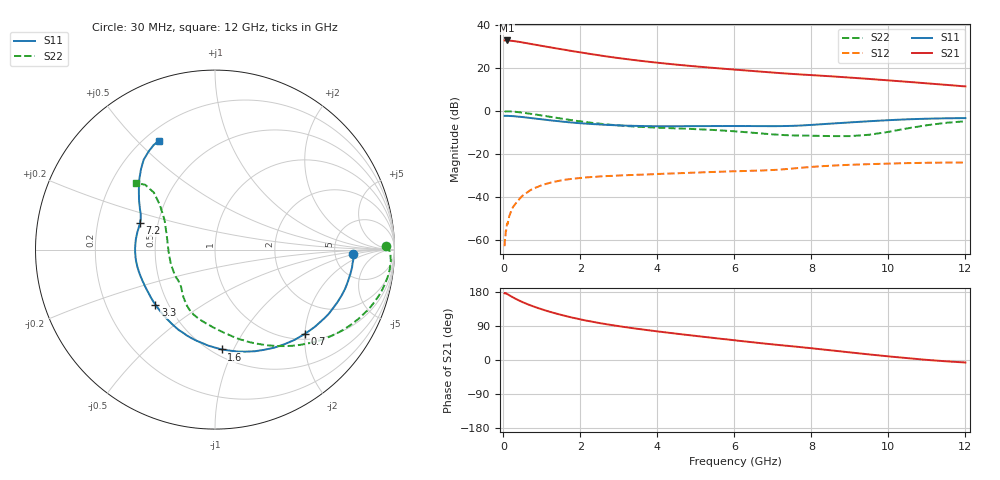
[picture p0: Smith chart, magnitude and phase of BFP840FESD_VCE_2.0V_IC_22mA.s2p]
! Infineon Technologies  Discrete & RF Semiconductors
! BFP840FESD
! VCE =  2.0 V,  IC =  22 mA
! Common Emitter S-Parameters:  May 2012
# GHz  S  MA  R  50
!  f  S11  S21  S12  S22
! GHz  MAG  ANG  MAG  ANG  MAG  ANG  MAG  ANG
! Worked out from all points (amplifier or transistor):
!   103 points, 30 MHz to 12 GHz, reference 50 ohm
!   highest |S21| = 32.9 dB at 80 MHz (marker M1)
!   |S21| within 3 dB of that: start of sweep to 1.146 GHz
!   unconditionally stable (mu >= 1): start of sweep to 30.42 MHz; 5.779 GHz to end of sweep
!   at 400 MHz: K = 0.19, MSG = 36.8 dB, |S12| = -41.4 dB
!   at 3.7 GHz: K = 0.75, MSG = 26.4 dB, |S12| = -29.6 dB
!   at 12 GHz: K = 1.09, MAG = 16.0 dB, |S12| = -24.1 dB
!   S11 on the Smith chart (normalised r, x): 30 MHz: 7.59, -0.95; 700 MHz: 1.12, -2.00; 1.6 GHz: 0.56, -0.90; 3.3 GHz: 0.43, -0.33; 7.2 GHz: 0.40, +0.15; 12 GHz: 0.26, +0.58
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0.03  0.7703 -1.9  44.18 176.1  0.0007 58.0  0.9535 1.3
0.04  0.771 -2.5  44.19 175.6  0.0011 84.7  0.9629 0.6
0.05  0.7697 -3.3  44.18 176.7  0.0011 53.4  0.9685 -0.1
0.08  0.7704 -5.3  44.24 175.0  0.0018 73.4  0.9783 -2.1
0.25  0.7572 -16.7  42.99 165.2  0.0058 76.8  0.9673 -11.2
0.4  0.7349 -26.1  41.09 157.3  0.0085 74.1  0.9358 -18.0
0.5  0.7199 -32.0  39.66 152.6  0.0106 71.8  0.9126 -22.0
0.7  0.6865 -43.2  36.84 144.3  0.0142 66.8  0.8615 -29.5
0.9  0.6538 -53.8  34.29 137.0  0.0171 61.9  0.8095 -36.3
1.1  0.6222 -63.8  31.83 130.5  0.0198 57.5  0.759 -42.6
1.3  0.5938 -73.2  29.65 124.5  0.0221 53.8  0.7103 -48.4
1.6  0.5577 -86.2  26.75 116.5  0.0249 49.0  0.6446 -56.5
2.1  0.5102 -104.9  22.55 105.0  0.028 43.1  0.5569 -68.5
2.7  0.4732 -122.8  18.65 94.0  0.0303 38.6  0.4845 -80.1
3.3  0.4521 -137.2  15.81 84.8  0.032 36.3  0.4397 -89.6
4.1  0.4403 -153.1  13.11 74.3  0.0341 35.3  0.405 -99.9
5.1  0.4431 -168.7  10.77 62.3  0.0367 35.2  0.3734 -110.5
6.1  0.4445 177.4  9.102 50.9  0.0394 35.1  0.3304 -120.8
7.2  0.4438 160.3  7.641 39.1  0.043 38.3  0.2769 -133.7
8.5  0.5066 146.7  6.448 25.6  0.0529 36.0  0.2593 -161.4
10.5  0.6395 128.4  4.79 4.9  0.0607 28.4  0.394 141.1
12  0.6824 117.4  3.741 -6.6  0.0626 25.4  0.5753 139.8
